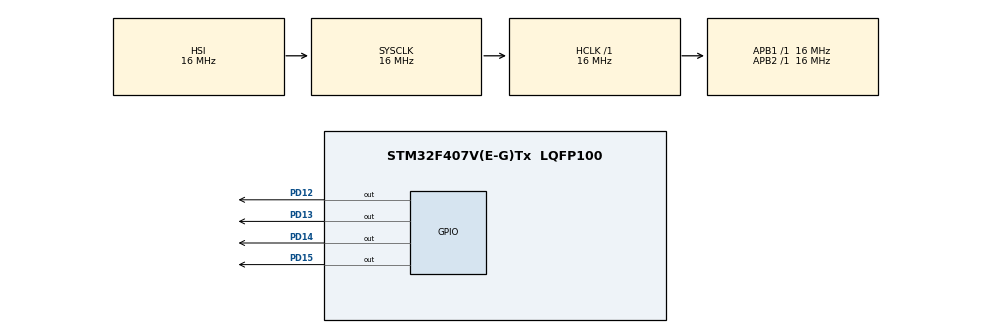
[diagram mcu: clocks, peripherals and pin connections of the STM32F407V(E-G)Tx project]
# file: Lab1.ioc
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Mcu.Family=STM32F4
Mcu.Name=STM32F407V(E-G)Tx
Mcu.Package=LQFP100
NVIC.PriorityGroup=NVIC_PRIORITYGROUP_4
PD12.Signal=GPIO_Output
PD13.Signal=GPIO_Output
PD14.Signal=GPIO_Output
PD15.Signal=GPIO_Output
ProjectManager.HeapSize=0x200
ProjectManager.StackSize=0x400
ProjectManager.TargetToolchain=STM32CubeIDE
RCC.AHBFreq_Value=16000000
RCC.APB1Freq_Value=16000000
RCC.APB2Freq_Value=16000000
RCC.CortexFreq_Value=16000000
RCC.HSE_VALUE=25000000
RCC.HSI_VALUE=16000000
RCC.LSE_VALUE=32768
RCC.SYSCLKFreq_VALUE=16000000
RCC.VCOOutputFreq_Value=192000000
board=custom

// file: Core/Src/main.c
/* USER CODE BEGIN Header */
/**
  ******************************************************************************
  * @file           : main.c
  * @brief          : Main program body
  ******************************************************************************
  * @attention
  *
  * Copyright (c) 2025 STMicroelectronics.
  * All rights reserved.
  *
  * This software is licensed under terms that can be found in the LICENSE file
  * in the root directory of this software component.
  * If no LICENSE file comes with this software, it is provided AS-IS.
  *
  ******************************************************************************
  */
/* USER CODE END Header */
#include "main.h"

void SystemClock_Config(void);
static void MX_GPIO_Init(void);

int main(void)
{

  /* MCU Configuration--------------------------------------------------------*/

  /* Reset of all peripherals, Initializes the Flash interface and the Systick. */
  HAL_Init();

  /* Configure the system clock */
  SystemClock_Config();

  /* Initialize all configured peripherals */
  MX_GPIO_Init();
  /* USER CODE BEGIN 2 */
  int i;

  /* USER CODE END 2 */

  /* Infinite loop */
  /* USER CODE BEGIN WHILE */
  while (1)
  {
	  HAL_GPIO_WritePin(GPIOD, GPIO_PIN_12, GPIO_PIN_SET); // Вмикаємо світлодіод на піні PD12, так само і для PD13, PD14, PD15
	  HAL_Delay(250); // Затримка 250 мс
	  HAL_GPIO_WritePin(GPIOD, GPIO_PIN_12, GPIO_PIN_RESET); // Вимикаємо світлодіод на піні PD12, так само і для PD13, PD14, PD15
	  HAL_Delay(250); // Затримка 250 мс

	  HAL_GPIO_WritePin(GPIOD, GPIO_PIN_13, GPIO_PIN_SET);
	  HAL_Delay(250);
	  HAL_GPIO_WritePin(GPIOD, GPIO_PIN_13, GPIO_PIN_RESET);
	  HAL_Delay(250);

	  HAL_GPIO_WritePin(GPIOD, GPIO_PIN_14, GPIO_PIN_SET);
	  HAL_Delay(250);
	  HAL_GPIO_WritePin(GPIOD, GPIO_PIN_14, GPIO_PIN_RESET);
	  HAL_Delay(250);

	  HAL_GPIO_WritePin(GPIOD, GPIO_PIN_15, GPIO_PIN_SET);
	  HAL_Delay(250);
	  HAL_GPIO_WritePin(GPIOD, GPIO_PIN_15, GPIO_PIN_RESET);
	  HAL_Delay(250);

	  // Блимаємо всіма світлодіодами 5 разів

	  for (i = 0; i <= 4; i++){
		  HAL_GPIO_WritePin(GPIOD, GPIO_PIN_12 | GPIO_PIN_13 | GPIO_PIN_14 | GPIO_PIN_15, GPIO_PIN_SET);
		  HAL_Delay(250); // Затримка 250 мс
		  HAL_GPIO_WritePin(GPIOD, GPIO_PIN_12 | GPIO_PIN_13 | GPIO_PIN_14 | GPIO_PIN_15, GPIO_PIN_RESET);
		  HAL_Delay(250); // Затримка 250 мс

	  }

    /* USER CODE END WHILE */

  }
}

void SystemClock_Config(void)
{
  RCC_OscInitTypeDef RCC_OscInitStruct = {0};
  RCC_ClkInitTypeDef RCC_ClkInitStruct = {0};

  /** Configure the main internal regulator output voltage
  */
  __HAL_RCC_PWR_CLK_ENABLE();
  __HAL_PWR_VOLTAGESCALING_CONFIG(PWR_REGULATOR_VOLTAGE_SCALE1);

  /** Initializes the RCC Oscillators according to the specified parameters
  * in the RCC_OscInitTypeDef structure.
  */
  RCC_OscInitStruct.OscillatorType = RCC_OSCILLATORTYPE_HSI;
  RCC_OscInitStruct.HSIState = RCC_HSI_ON;
  RCC_OscInitStruct.HSICalibrationValue = RCC_HSICALIBRATION_DEFAULT;
  RCC_OscInitStruct.PLL.PLLState = RCC_PLL_NONE;
  if (HAL_RCC_OscConfig(&RCC_OscInitStruct) != HAL_OK)
  {
    Error_Handler();
  }

  /** Initializes the CPU, AHB and APB buses clocks
  */
  RCC_ClkInitStruct.ClockType = RCC_CLOCKTYPE_HCLK|RCC_CLOCKTYPE_SYSCLK
                              |RCC_CLOCKTYPE_PCLK1|RCC_CLOCKTYPE_PCLK2;
  RCC_ClkInitStruct.SYSCLKSource = RCC_SYSCLKSOURCE_HSI;
  RCC_ClkInitStruct.AHBCLKDivider = RCC_SYSCLK_DIV1;
  RCC_ClkInitStruct.APB1CLKDivider = RCC_HCLK_DIV1;
  RCC_ClkInitStruct.APB2CLKDivider = RCC_HCLK_DIV1;

  if (HAL_RCC_ClockConfig(&RCC_ClkInitStruct, FLASH_LATENCY_0) != HAL_OK)
  {
    Error_Handler();
  }
}

static void MX_GPIO_Init(void)
{
  GPIO_InitTypeDef GPIO_InitStruct = {0};

  /* GPIO Ports Clock Enable */
  __HAL_RCC_GPIOD_CLK_ENABLE();

  /*Configure GPIO pin Output Level */
  HAL_GPIO_WritePin(GPIOD, GPIO_PIN_12|GPIO_PIN_13|GPIO_PIN_14|GPIO_PIN_15, GPIO_PIN_RESET);

  /*Configure GPIO pins : PD12 PD13 PD14 PD15 */
  GPIO_InitStruct.Pin = GPIO_PIN_12|GPIO_PIN_13|GPIO_PIN_14|GPIO_PIN_15;
  GPIO_InitStruct.Mode = GPIO_MODE_OUTPUT_PP;
  GPIO_InitStruct.Pull = GPIO_NOPULL;
  GPIO_InitStruct.Speed = GPIO_SPEED_FREQ_LOW;
  HAL_GPIO_Init(GPIOD, &GPIO_InitStruct);

}

void Error_Handler(void)
{
  __disable_irq();
  while (1)
  {
  }
}
